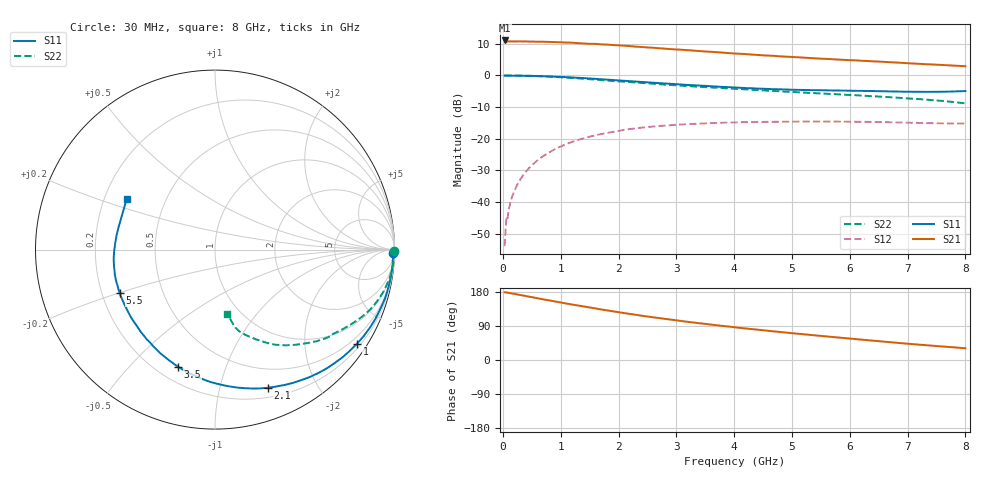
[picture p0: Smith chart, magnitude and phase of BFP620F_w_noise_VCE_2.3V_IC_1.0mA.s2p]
! Infineon Technologies  Discrete & RF Semiconductors
! BFP620F
! VCE =  2.3 V,  IC =  1.0 mA
! Common Emitter S-Parameters:  Dec 2014
# GHz  S  MA  R  50
!  f  S11  S21  S12  S22
! GHz  MAG  ANG  MAG  ANG  MAG  ANG  MAG  ANG
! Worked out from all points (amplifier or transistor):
!   95 points, 30 MHz to 8 GHz, reference 50 ohm
!   highest |S21| = 11.1 dB at 30 MHz (marker M1)
!   |S21| within 3 dB of that: start of sweep to 3.142 GHz
!   unconditionally stable (mu >= 1): 7.001 GHz to end of sweep
!   at 300 MHz: K = 0.00, MSG = 21.9 dB, |S12| = -32.9 dB
!   at 3.3 GHz: K = 0.44, MSG = 11.6 dB, |S12| = -15.3 dB
!   at 8 GHz: K = 1.18, MAG = 6.5 dB, |S12| = -15.2 dB
!   lowest NFmin = 0.63 dB at 450 MHz
!   S11 on the Smith chart (normalised r, x): 30 MHz: open; 1 GHz: 0.31, -3.29; 2.1 GHz: 0.29, -1.41; 3.5 GHz: 0.28, -0.70; 5.5 GHz: 0.27, -0.20; 8 GHz: 0.29, +0.24
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0.03  0.9931 -1.0  3.578 178.8  0.002 68.2  0.9988 -0.6
0.04  0.9935 -1.3  3.399 178.5  0.0028 89.0  0.9985 -0.8
0.06  0.9932 -2.0  3.42 178.4  0.0054 90.7  0.9991 -1.1
0.07  0.9938 -2.4  3.447 178.0  0.0059 71.5  0.9984 -1.3
0.08  0.9946 -2.6  3.439 177.6  0.0055 88.7  0.9983 -1.6
0.13  0.9929 -4.4  3.477 176.3  0.0102 87.7  0.9982 -2.6
0.25  0.9914 -8.4  3.455 172.9  0.0189 85.2  0.9951 -5.0
0.5  0.984 -16.8  3.434 165.9  0.038 81.1  0.9843 -9.9
1  0.949 -33.6  3.346 151.8  0.0754 69.6  0.9381 -19.3
1.2  0.9296 -40.3  3.297 146.3  0.0892 65.1  0.914 -22.8
1.4  0.9089 -46.7  3.201 141.3  0.1018 60.7  0.8875 -26.1
1.7  0.8718 -56.5  3.108 133.4  0.1184 54.5  0.8457 -31.0
2.1  0.824 -69.1  2.957 123.7  0.1383 47.0  0.7987 -37.6
2.7  0.7578 -86.3  2.696 110.7  0.1586 36.9  0.7288 -45.7
3.1  0.7181 -97.3  2.549 102.6  0.1681 31.2  0.6891 -50.4
3.5  0.6847 -107.4  2.394 95.3  0.1748 26.1  0.6543 -54.5
4.1  0.6396 -122.4  2.202 84.8  0.1819 19.6  0.6098 -59.4
4.7  0.6067 -137.0  2.039 75.3  0.1855 14.1  0.5688 -63.5
5.4  0.5858 -153.2  1.867 65.0  0.1865 8.7  0.5242 -68.1
5.5  0.5838 -155.4  1.844 63.6  0.1868 7.9  0.5199 -68.6
6.7  0.5593 178.8  1.62 47.0  0.1819 0.6  0.4528 -75.1
8  0.5673 150.2  1.401 31.0  0.174 -2.3  0.3626 -79.4
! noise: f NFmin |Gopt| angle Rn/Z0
0.45  0.63  0.7  11  0.33
0.9  0.82  0.71  21  0.28
1.5  0.98  0.64  33  0.28
1.8  1.05  0.63  37  0.28
1.9  1.07  0.6  46  0.29
2.4  1.19  0.58  59  0.27
3.5  1.44  0.56  83  0.2
5.5  1.85  0.41  143  0.17
6  1.94  0.29  161  0.33
